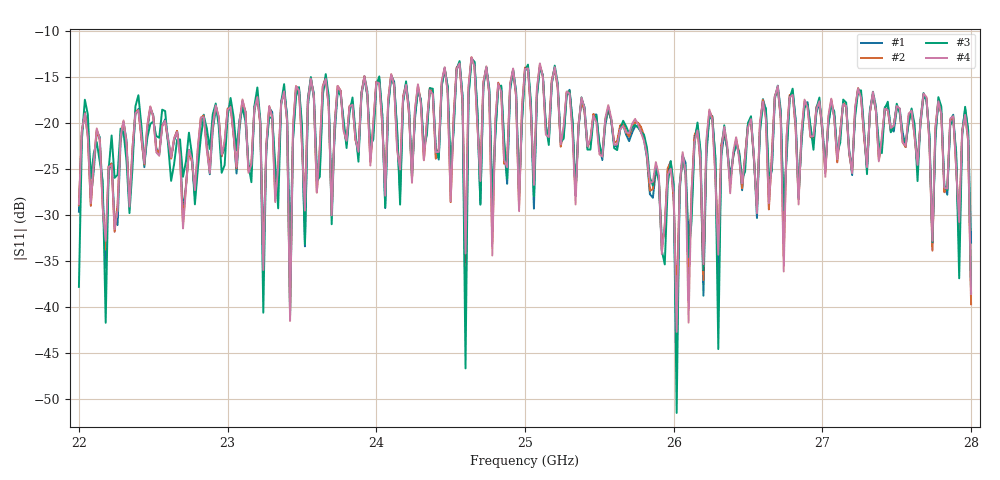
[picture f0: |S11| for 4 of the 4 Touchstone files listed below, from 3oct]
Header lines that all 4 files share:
#  HZ  S  RI  R  50.00
! Rohde & Schwarz ZVA40 4Ports - Version 3.90 - 1145.1110k42 SN: 100403
! Measurement: S22
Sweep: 22 GHz to 28 GHz
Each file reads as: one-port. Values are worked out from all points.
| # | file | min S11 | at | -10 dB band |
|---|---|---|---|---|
| 1 | s22_free_inc0deg.s1p | -45.5 dB | 26.02 GHz | over 6 GHz wide |
| 2 | s22_free_inc-15deg_TE.s1p | -40.6 dB | 23.42 GHz | over 6 GHz wide |
| 3 | s22_inc0deg.s1p | -51.5 dB | 26.02 GHz | over 6 GHz wide |
| 4 | s22_inc-15deg_TE.s1p | -42.7 dB | 26.02 GHz | over 6 GHz wide |
